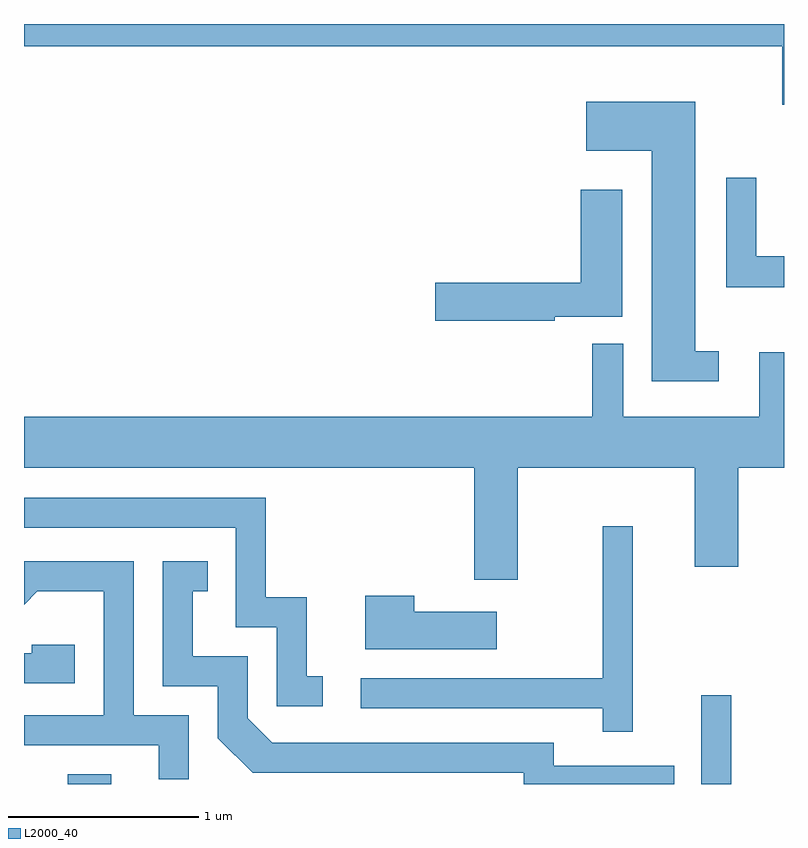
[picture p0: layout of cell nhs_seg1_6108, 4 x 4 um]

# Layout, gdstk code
import gdstk
lib = gdstk.Library(unit=1e-6, precision=1e-09)
def R(c, l, rs):  # rectangles x0, y0, x1, y1
    for r in rs: c.add(gdstk.rectangle(r[:2], r[2:], *l))
def P(c, l, *ps):  # polygons
    for p in ps: c.add(gdstk.Polygon(p, *l))
L2000_40 = (2000, 40)

nhs_seg1_6108 = lib.new_cell('nhs_seg1_6108')
R(nhs_seg1_6108, L2000_40, [(369.841,875.712,370.069,875.764), (373.176,875.712,373.334,876.178)])
P(nhs_seg1_6108, L2000_40, [(373.611,879.712),(369.611,879.712),(369.611,879.596),(373.601,879.596),(373.601,879.286),(373.611,879.286)],
  [(373.268,877.989),(373.144,877.989),(373.144,879.304),(372.571,879.304),(372.571,879.046),(372.916,879.046),(372.916,877.831),(373.268,877.831)],
  [(373.611,878.489),(373.464,878.489),(373.464,878.903),(373.306,878.903),(373.306,878.326),(373.611,878.326)],
  [(372.404,878.171),(372.759,878.171),(372.759,878.839),(372.541,878.839),(372.541,878.349),(371.776,878.349),(371.776,878.151),(372.404,878.151)],
  [(372.209,877.376),(373.141,877.376),(373.141,876.856),(373.369,876.856),(373.369,877.376),(373.611,877.376),(373.611,877.984),(373.481,877.984),(373.481,877.644),(372.764,877.644),(372.764,878.028),(372.601,878.028),(372.601,877.644),(369.611,877.644),(369.611,877.376),(371.981,877.376),(371.981,876.786),(372.209,876.786)],
  [(371.183,876.279),(371.099,876.279),(371.099,876.694),(370.884,876.694),(370.884,877.219),(369.611,877.219),(369.611,877.061),(370.726,877.061),(370.726,876.536),(370.941,876.536),(370.941,876.121),(371.183,876.121)],
  [(372.814,877.068),(372.656,877.068),(372.656,876.269),(371.383,876.269),(371.383,876.111),(372.656,876.111),(372.656,875.988),(372.814,875.988)],
  [(370.479,876.074),(370.189,876.074),(370.189,876.884),(369.611,876.884),(369.611,876.655),(369.682,876.726),(370.031,876.726),(370.031,876.074),(369.611,876.074),(369.611,875.916),(370.321,875.916),(370.321,875.738),(370.479,875.738)],
  [(373.033,875.809),(372.399,875.809),(372.399,875.929),(370.917,875.929),(370.789,876.057),(370.789,876.384),(370.499,876.384),(370.499,876.726),(370.578,876.726),(370.578,876.884),(370.341,876.884),(370.341,876.226),(370.631,876.226),(370.631,875.954),(370.814,875.771),(372.241,875.771),(372.241,875.712),(373.033,875.712)],
  [(372.099,876.619),(371.664,876.619),(371.664,876.704),(371.406,876.704),(371.406,876.421),(372.099,876.421)],
  [(369.879,876.444),(369.651,876.444),(369.651,876.399),(369.611,876.399),(369.611,876.241),(369.879,876.241)])

lib.write_gds('nhs_seg1_6108.gds')
